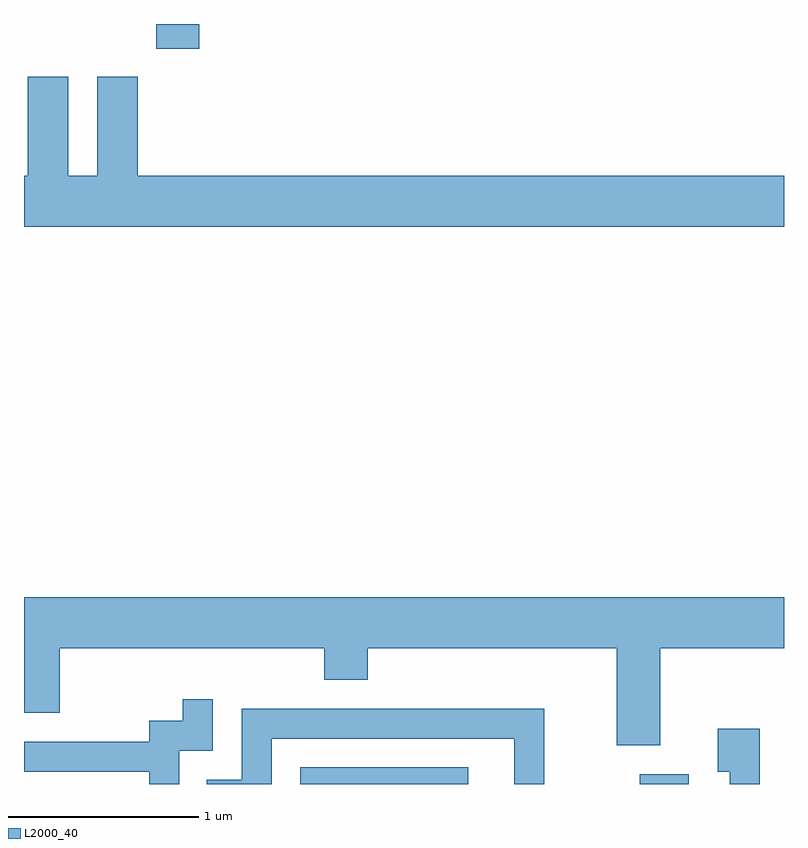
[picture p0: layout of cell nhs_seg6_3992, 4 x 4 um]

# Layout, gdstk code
import gdstk
lib = gdstk.Library(unit=1e-6, precision=1e-09)
def R(c, l, rs):  # rectangles x0, y0, x1, y1
    for r in rs: c.add(gdstk.rectangle(r[:2], r[2:], *l))
def P(c, l, *ps):  # polygons
    for p in ps: c.add(gdstk.Polygon(p, *l))
L2000_40 = (2000, 40)

nhs_seg6_3992 = lib.new_cell('nhs_seg6_3992')
R(nhs_seg6_3992, L2000_40, [(307.066,1598.162,307.948,1598.249), (308.851,1598.162,309.109,1598.214), (306.306,1602.031,306.534,1602.162)])
P(nhs_seg6_3992, L2000_40, [(309.611,1601.364),(306.209,1601.364),(306.209,1601.884),(305.996,1601.884),(305.996,1601.364),(305.844,1601.364),(305.844,1601.884),(305.631,1601.884),(305.631,1601.364),(305.611,1601.364),(305.611,1601.096),(309.611,1601.096)],
  [(308.959,1598.876),(309.611,1598.876),(309.611,1599.144),(305.611,1599.144),(305.611,1598.536),(305.799,1598.536),(305.799,1598.876),(307.191,1598.876),(307.191,1598.711),(307.419,1598.711),(307.419,1598.876),(308.731,1598.876),(308.731,1598.366),(308.959,1598.366)],
  [(306.429,1598.336),(306.604,1598.336),(306.604,1598.608),(306.446,1598.608),(306.446,1598.494),(306.271,1598.494),(306.271,1598.384),(305.611,1598.384),(305.611,1598.226),(306.271,1598.226),(306.271,1598.162),(306.429,1598.162)],
  [(306.914,1598.401),(308.191,1598.401),(308.191,1598.162),(308.349,1598.162),(308.349,1598.559),(306.756,1598.559),(306.756,1598.184),(306.573,1598.184),(306.573,1598.162),(306.914,1598.162)],
  [(309.484,1598.454),(309.261,1598.454),(309.261,1598.226),(309.326,1598.226),(309.326,1598.162),(309.484,1598.162)])

lib.write_gds('nhs_seg6_3992.gds')
